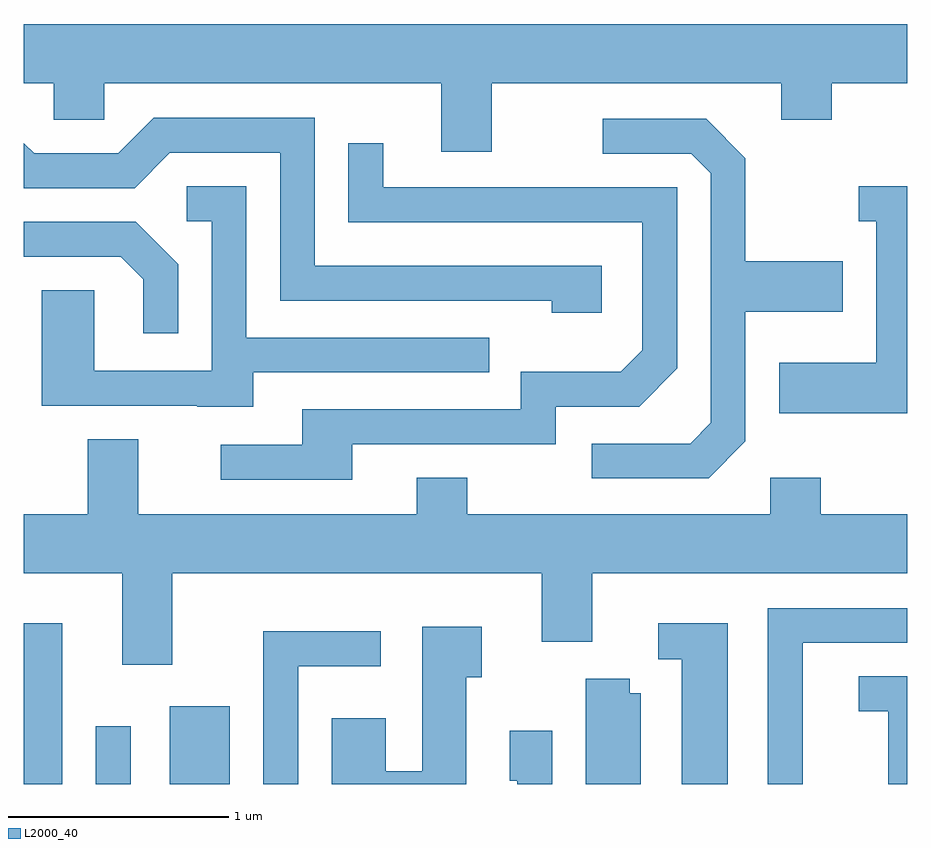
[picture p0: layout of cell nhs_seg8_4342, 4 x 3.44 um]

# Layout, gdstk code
import gdstk
lib = gdstk.Library(unit=1e-6, precision=1e-09)
def R(c, l, rs):  # rectangles x0, y0, x1, y1
    for r in rs: c.add(gdstk.rectangle(r[:2], r[2:], *l))
def P(c, l, *ps):  # polygons
    for p in ps: c.add(gdstk.Polygon(p, *l))
L2000_40 = (2000, 40)

nhs_seg8_4342 = lib.new_cell('nhs_seg8_4342')
R(nhs_seg8_4342, L2000_40, [(315.611,1844.342,315.784,1845.069), (315.936,1844.342,316.094,1844.603), (316.271,1844.342,316.544,1844.694)])
P(nhs_seg8_4342, L2000_40, [(317.729,1847.516),(319.041,1847.516),(319.041,1847.351),(319.269,1847.351),(319.269,1847.516),(319.611,1847.516),(319.611,1847.784),(315.611,1847.784),(315.611,1847.516),(315.746,1847.516),(315.746,1847.351),(315.974,1847.351),(315.974,1847.516),(317.501,1847.516),(317.501,1847.206),(317.729,1847.206)],
  [(318.229,1846.689),(316.929,1846.689),(316.929,1847.359),(316.199,1847.359),(316.039,1847.199),(315.657,1847.199),(315.611,1847.245),(315.611,1847.041),(316.112,1847.041),(316.272,1847.201),(316.771,1847.201),(316.771,1846.531),(318.001,1846.531),(318.001,1846.476),(318.229,1846.476)],
  [(318.879,1845.894),(318.879,1846.481),(319.319,1846.481),(319.319,1846.709),(318.879,1846.709),(318.879,1847.177),(318.702,1847.354),(318.233,1847.354),(318.233,1847.196),(318.634,1847.196),(318.721,1847.109),(318.721,1845.977),(318.629,1845.884),(318.183,1845.884),(318.183,1845.726),(318.712,1845.726)],
  [(317.099,1845.881),(318.019,1845.881),(318.019,1846.051),(318.397,1846.051),(318.569,1846.224),(318.569,1847.044),(317.239,1847.044),(317.239,1847.243),(317.081,1847.243),(317.081,1846.886),(318.411,1846.886),(318.411,1846.307),(318.314,1846.209),(317.861,1846.209),(317.861,1846.039),(316.871,1846.039),(316.871,1845.879),(316.503,1845.879),(316.503,1845.721),(317.099,1845.721)],
  [(316.649,1846.206),(317.718,1846.206),(317.718,1846.364),(316.619,1846.364),(316.619,1847.049),(316.348,1847.049),(316.348,1846.891),(316.461,1846.891),(316.461,1846.214),(315.929,1846.214),(315.929,1846.579),(315.691,1846.579),(315.691,1846.056),(316.395,1846.056),(316.395,1846.051),(316.649,1846.051)],
  [(319.611,1847.049),(319.393,1847.049),(319.393,1846.891),(319.471,1846.891),(319.471,1846.249),(319.031,1846.249),(319.031,1846.021),(319.611,1846.021)],
  [(316.309,1846.697),(316.117,1846.889),(315.611,1846.889),(315.611,1846.731),(316.049,1846.731),(316.151,1846.629),(316.151,1846.383),(316.309,1846.383)],
  [(316.284,1845.296),(317.956,1845.296),(317.956,1844.986),(318.184,1844.986),(318.184,1845.296),(319.611,1845.296),(319.611,1845.564),(319.219,1845.564),(319.219,1845.729),(318.991,1845.729),(318.991,1845.564),(317.619,1845.564),(317.619,1845.729),(317.391,1845.729),(317.391,1845.564),(316.129,1845.564),(316.129,1845.904),(315.901,1845.904),(315.901,1845.564),(315.611,1845.564),(315.611,1845.296),(316.056,1845.296),(316.056,1844.881),(316.284,1844.881)],
  [(319.139,1844.981),(319.611,1844.981),(319.611,1845.139),(318.981,1845.139),(318.981,1844.342),(319.139,1844.342)],
  [(318.799,1845.069),(318.483,1845.069),(318.483,1844.906),(318.591,1844.906),(318.591,1844.342),(318.799,1844.342)],
  [(317.614,1844.826),(317.684,1844.826),(317.684,1845.054),(317.416,1845.054),(317.416,1844.399),(317.249,1844.399),(317.249,1844.639),(317.006,1844.639),(317.006,1844.342),(317.614,1844.342)],
  [(316.854,1844.876),(317.228,1844.876),(317.228,1845.034),(316.696,1845.034),(316.696,1844.342),(316.854,1844.342)],
  [(319.611,1844.829),(319.393,1844.829),(319.393,1844.671),(319.526,1844.671),(319.526,1844.342),(319.611,1844.342)],
  [(318.404,1844.754),(318.354,1844.754),(318.354,1844.819),(318.156,1844.819),(318.156,1844.342),(318.404,1844.342)],
  [(318.004,1844.584),(317.811,1844.584),(317.811,1844.356),(317.846,1844.356),(317.846,1844.342),(318.004,1844.342)])

lib.write_gds('nhs_seg8_4342.gds')
